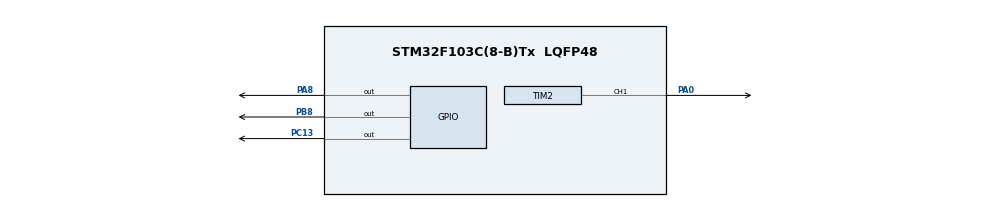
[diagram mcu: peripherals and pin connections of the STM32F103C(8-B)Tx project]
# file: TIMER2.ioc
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Mcu.Family=STM32F1
Mcu.Name=STM32F103C(8-B)Tx
Mcu.Package=LQFP48
NVIC.PriorityGroup=NVIC_PRIORITYGROUP_4
NVIC.TIM2_IRQn=true\:0\:0\:false\:false\:true\:true\:true\:true
NVIC.TIM3_IRQn=true\:0\:0\:false\:false\:true\:true\:true\:true
PA0-WKUP.GPIO_Speed=GPIO_SPEED_FREQ_HIGH
PA0-WKUP.Signal=S_TIM2_CH1_ETR
PA13.Mode=Serial_Wire
PA13.Signal=SYS_JTMS-SWDIO
PA14.Mode=Serial_Wire
PA14.Signal=SYS_JTCK-SWCLK
PA8.Signal=GPIO_Output
PB8.Signal=GPIO_Output
PC13-TAMPER-RTC.Signal=GPIO_Output
PD0-OSC_IN.Mode=HSE-External-Oscillator
PD0-OSC_IN.Signal=RCC_OSC_IN
PD1-OSC_OUT.Mode=HSE-External-Oscillator
PD1-OSC_OUT.Signal=RCC_OSC_OUT
ProjectManager.HeapSize=0x200
ProjectManager.StackSize=0x400
ProjectManager.TargetToolchain=STM32CubeIDE
RCC.APB1Freq_Value=8000000
RCC.APB2Freq_Value=8000000
SH.S_TIM2_CH1_ETR.0=TIM2_CH1,PWM Generation1 CH1
TIM2.AutoReloadPreload=TIM_AUTORELOAD_PRELOAD_ENABLE
TIM2.Channel-PWM\ Generation1\ CH1=TIM_CHANNEL_1
TIM2.Period=499
TIM2.Prescaler=8000-1
TIM3.AutoReloadPreload=TIM_AUTORELOAD_PRELOAD_ENABLE
TIM3.Period=99
TIM3.Prescaler=8000-1
VP_TIM2_VS_ClockSourceINT.Mode=Internal
VP_TIM3_VS_ClockSourceINT.Mode=Internal
board=custom

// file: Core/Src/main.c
/* USER CODE BEGIN Header */
/**
  ******************************************************************************
  * @file           : main.c
  * @brief          : Main program body
  ******************************************************************************
  * @attention
  *
  * Copyright (c) 2026 STMicroelectronics.
  * All rights reserved.
  *
  * This software is licensed under terms that can be found in the LICENSE file
  * in the root directory of this software component.
  * If no LICENSE file comes with this software, it is provided AS-IS.
  *
  ******************************************************************************
  */
/* USER CODE END Header */
#include "main.h"
#include "tim.h"
#include "gpio.h"

/* USER CODE BEGIN PV */
volatile uint16_t pwm_value = 0;
/* USER CODE END PV */

void SystemClock_Config(void);

int main(void)
{

  /* MCU Configuration--------------------------------------------------------*/

  /* Reset of all peripherals, Initializes the Flash interface and the Systick. */
  HAL_Init();

  /* Configure the system clock */
  SystemClock_Config();

  /* Initialize all configured peripherals */
  MX_GPIO_Init();
  MX_TIM2_Init();
  MX_TIM3_Init();
  /* USER CODE BEGIN 2 */
  HAL_TIM_Base_Start_IT(&htim2);
  HAL_TIM_PWM_Start(&htim2, TIM_CHANNEL_1);
  HAL_TIM_Base_Start_IT(&htim3);
  /* USER CODE END 2 */

  /* Infinite loop */
  /* USER CODE BEGIN WHILE */
  while (1)
  {
	  for (pwm_value=0;pwm_value<=500;pwm_value++)
	  {
		  __HAL_TIM_SET_COMPARE(&htim2, TIM_CHANNEL_1, pwm_value);
		  HAL_Delay(100);
	  }

	  for (pwm_value=500;pwm_value>0;pwm_value--)
	  {
		  __HAL_TIM_SET_COMPARE(&htim2, TIM_CHANNEL_1, pwm_value);
		  HAL_Delay(100);
	  }
    /* USER CODE END WHILE */

  }
}

void SystemClock_Config(void)
{
  RCC_OscInitTypeDef RCC_OscInitStruct = {0};
  RCC_ClkInitTypeDef RCC_ClkInitStruct = {0};

  /** Initializes the RCC Oscillators according to the specified parameters
  * in the RCC_OscInitTypeDef structure.
  */
  RCC_OscInitStruct.OscillatorType = RCC_OSCILLATORTYPE_HSI;
  RCC_OscInitStruct.HSIState = RCC_HSI_ON;
  RCC_OscInitStruct.HSICalibrationValue = RCC_HSICALIBRATION_DEFAULT;
  RCC_OscInitStruct.PLL.PLLState = RCC_PLL_NONE;
  if (HAL_RCC_OscConfig(&RCC_OscInitStruct) != HAL_OK)
  {
    Error_Handler();
  }

  /** Initializes the CPU, AHB and APB buses clocks
  */
  RCC_ClkInitStruct.ClockType = RCC_CLOCKTYPE_HCLK|RCC_CLOCKTYPE_SYSCLK
                              |RCC_CLOCKTYPE_PCLK1|RCC_CLOCKTYPE_PCLK2;
  RCC_ClkInitStruct.SYSCLKSource = RCC_SYSCLKSOURCE_HSI;
  RCC_ClkInitStruct.AHBCLKDivider = RCC_SYSCLK_DIV1;
  RCC_ClkInitStruct.APB1CLKDivider = RCC_HCLK_DIV1;
  RCC_ClkInitStruct.APB2CLKDivider = RCC_HCLK_DIV1;

  if (HAL_RCC_ClockConfig(&RCC_ClkInitStruct, FLASH_LATENCY_0) != HAL_OK)
  {
    Error_Handler();
  }
}

/* USER CODE BEGIN 4 */
void HAL_TIM_PeriodElapsedCallback(TIM_HandleTypeDef *htim)
{
//	if (htim->Instance == TIM2)
//		HAL_GPIO_TogglePin(GPIOA, GPIO_PIN_8);
	static int8_t direction = 1; // 1 là tăng, -1 là giảm
	static uint16_t brightness = 0;
	if (htim->Instance == TIM3)
	{
		//HAL_GPIO_TogglePin(GPIOB, GPIO_PIN_8);
		brightness += direction;
		HAL_GPIO_TogglePin(GPIOB, GPIO_PIN_8);
		if (brightness >= 1000) direction = -1;
		if (brightness <= 0) direction = 1;

		__HAL_TIM_SET_COMPARE(&htim2, TIM_CHANNEL_1, brightness);
	}
}
/* USER CODE END 4 */

void Error_Handler(void)
{
  __disable_irq();
  while (1)
  {
  }
}
